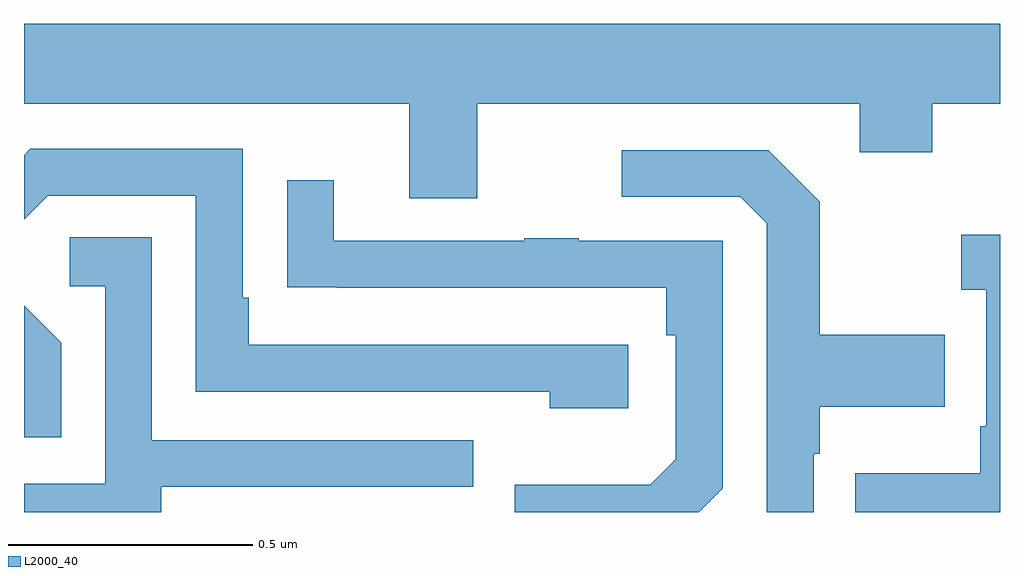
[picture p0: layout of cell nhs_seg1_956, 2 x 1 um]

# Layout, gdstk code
import gdstk
lib = gdstk.Library(unit=1e-6, precision=1e-09)
def P(c, l, *ps):  # polygons
    for p in ps: c.add(gdstk.Polygon(p, *l))
L2000_40 = (2000, 40)

nhs_seg1_956 = lib.new_cell('nhs_seg1_956')
P(nhs_seg1_956, L2000_40, [(122.929,581.036),(123.713,581.036),(123.713,580.937),(123.861,580.937),(123.861,581.036),(124,581.036),(124,581.2),(122,581.2),(122,581.036),(122.789,581.036),(122.789,580.842),(122.929,580.842)],
  [(123.238,580.542),(122.461,580.542),(122.461,580.639),(122.448,580.639),(122.448,580.944),(122.013,580.944),(122,580.931),(122,580.799),(122.049,580.848),(122.352,580.848),(122.352,580.446),(123.077,580.446),(123.077,580.412),(123.238,580.412)],
  [(123.618,580.319),(123.631,580.319),(123.631,580.415),(123.887,580.415),(123.887,580.563),(123.631,580.563),(123.631,580.835),(123.525,580.941),(123.225,580.941),(123.225,580.845),(123.468,580.845),(123.522,580.791),(123.522,580.199),(123.618,580.199)],
  [(123.432,580.248),(123.432,580.755),(123.137,580.755),(123.137,580.76),(123.025,580.76),(123.025,580.755),(122.635,580.755),(122.635,580.879),(122.539,580.879),(122.539,580.66),(122.641,580.66),(122.641,580.659),(123.316,580.659),(123.316,580.562),(123.336,580.562),(123.336,580.308),(123.283,580.255),(123.006,580.255),(123.006,580.199),(123.383,580.199)],
  [(124,580.768),(123.921,580.768),(123.921,580.655),(123.972,580.655),(123.972,580.375),(123.96,580.375),(123.96,580.279),(123.703,580.279),(123.703,580.199),(124,580.199)],
  [(122.281,580.251),(122.921,580.251),(122.921,580.347),(122.262,580.347),(122.262,580.763),(122.094,580.763),(122.094,580.662),(122.166,580.662),(122.166,580.257),(122,580.257),(122,580.199),(122.281,580.199)],
  [(122.076,580.546),(122,580.622),(122,580.353),(122.076,580.353)])

lib.write_gds('nhs_seg1_956.gds')
